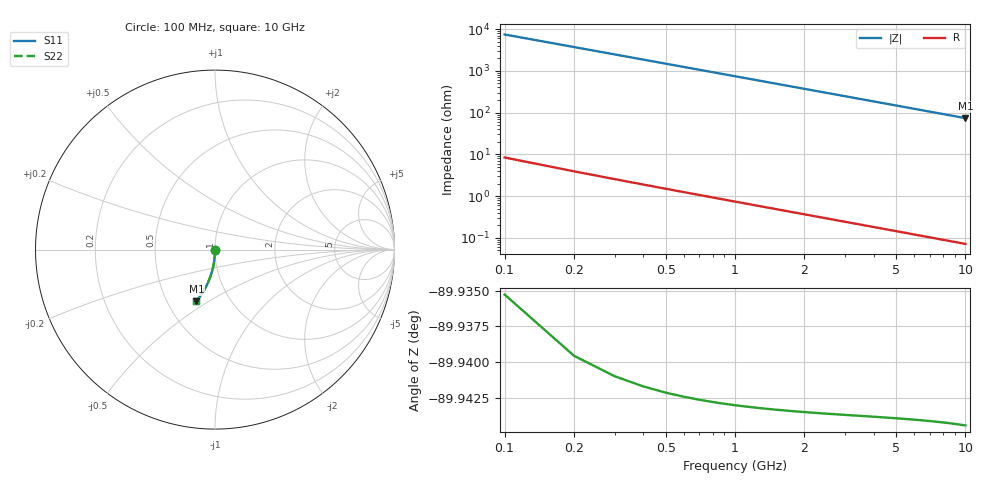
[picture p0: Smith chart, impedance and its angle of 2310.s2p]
# Hz S RI R 50.00
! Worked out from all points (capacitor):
!   100 points, 100 MHz to 10 GHz, reference 50 ohm
!   read as one part in shunt: C = 214 fF near 100 MHz
!   lowest |Z| = 73.8 ohm at 10 GHz (marker M1)
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1e8  2.94e-05 -0.00319  0.9999 -0.00353  0.9999 -0.00353  2.94e-05 -0.00319
2e8  -7.33e-06 -0.00637  0.9999 -0.00705  0.9999 -0.00705  -7.33e-06 -0.00637
3e8  -6.66e-05 -0.00956  0.9998 -0.0106  0.9998 -0.0106  -6.66e-05 -0.00956
4e8  -0.000148 -0.0127  0.9998 -0.0141  0.9998 -0.0141  -0.000148 -0.0127
5e8  -0.000253 -0.0159  0.9997 -0.0176  0.9997 -0.0176  -0.000253 -0.0159
6e8  -0.00038 -0.0191  0.9995 -0.0212  0.9995 -0.0212  -0.00038 -0.0191
7e8  -0.000529 -0.0223  0.9994 -0.0247  0.9994 -0.0247  -0.000529 -0.0223
8e8  -0.000701 -0.0255  0.9992 -0.0282  0.9992 -0.0282  -0.000701 -0.0255
9e8  -0.000895 -0.0287  0.999 -0.0317  0.999 -0.0317  -0.000895 -0.0287
1.1e9  -0.00135 -0.035  0.9986 -0.0388  0.9986 -0.0388  -0.00135 -0.035
1.4e9  -0.0022 -0.0446  0.9977 -0.0493  0.9977 -0.0493  -0.0022 -0.0446
1.8e9  -0.00365 -0.0572  0.9962 -0.0634  0.9962 -0.0634  -0.00365 -0.0572
2.1e9  -0.00497 -0.0667  0.9949 -0.0739  0.9949 -0.0739  -0.00497 -0.0667
2.5e9  -0.00705 -0.0793  0.9928 -0.0878  0.9928 -0.0878  -0.00705 -0.0793
2.9e9  -0.00947 -0.0918  0.9904 -0.1017  0.9904 -0.1017  -0.00947 -0.0918
3.4e9  -0.013 -0.1073  0.9869 -0.1189  0.9869 -0.1189  -0.013 -0.1073
4.2e9  -0.0197 -0.1317  0.9801 -0.1461  0.9801 -0.1461  -0.0197 -0.1317
5.1e9  -0.0289 -0.1586  0.9709 -0.1761  0.9709 -0.1761  -0.0289 -0.1586
5.9e9  -0.0384 -0.1818  0.9613 -0.2021  0.9613 -0.2021  -0.0384 -0.1818
6.7e9  -0.049 -0.2043  0.9506 -0.2273  0.9506 -0.2273  -0.049 -0.2043
8.4e9  -0.0753 -0.2492  0.9242 -0.2783  0.9242 -0.2783  -0.0753 -0.2492
1e10  -0.1038 -0.2876  0.8955 -0.3224  0.8955 -0.3224  -0.1038 -0.2876
